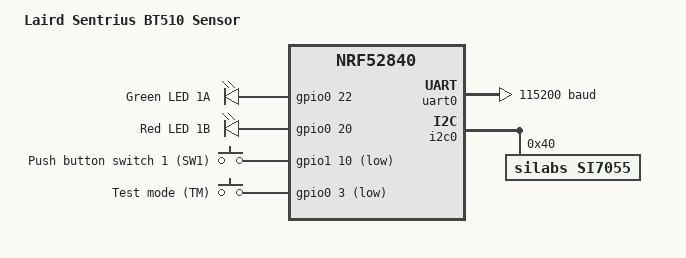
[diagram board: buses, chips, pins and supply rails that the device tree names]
/*
 * Copyright (c) 2020 Laird Connectivity
 * Copyright (c) 2024 Jamie M.
 *
 * SPDX-License-Identifier: Apache-2.0
 */

/dts-v1/;
#include <nordic/nrf52840_qiaa.dtsi>
#include "bt510-pinctrl.dtsi"
#include <zephyr/dt-bindings/input/input-event-codes.h>

/ {
	model = "Laird Sentrius BT510 Sensor";
	compatible = "lairdconnect,bt510";

	chosen {
		zephyr,console = &uart0;
		zephyr,shell-uart = &uart0;
		zephyr,uart-mcumgr = &uart0;
		zephyr,bt-mon-uart = &uart0;
		zephyr,bt-c2h-uart = &uart0;
		zephyr,sram = &sram0;
		zephyr,flash = &flash0;
		zephyr,code-partition = &slot0_partition;
	};

	leds {
		compatible = "gpio-leds";
		led1a: led_1a {
			gpios = <&gpio0 22 GPIO_ACTIVE_HIGH>;
			label = "Green LED 1A";
		};
		led1b: led_1b {
			gpios = <&gpio0 20 GPIO_ACTIVE_HIGH>;
			label = "Red LED 1B";
		};
	};

	buttons {
		compatible = "gpio-keys";
		button0: button_0 {
			gpios = <&gpio1 10 (GPIO_PULL_UP | GPIO_ACTIVE_LOW)>;
			label = "Push button switch 1 (SW1)";
			zephyr,code = <INPUT_KEY_0>;
		};
		tm0: tm_0 {
			gpios = <&gpio0 3 (GPIO_PULL_UP | GPIO_ACTIVE_LOW)>;
			label = "Test mode (TM)";
			zephyr,code = <INPUT_KEY_1>;
		};
	};

	/* These aliases are provided for compatibility with samples */
	aliases {
		led0 = &led1a;
		led1 = &led1b;
		sw0 = &button0;
		mcuboot-button0 = &button0;
		mcuboot-led0 = &led1a;
		watchdog0 = &wdt0;
	};
};

&adc {
	status = "disabled";
};

&uicr {
	gpio-as-nreset;
};

&gpiote {
	status = "okay";
};

&gpio0 {
	status = "okay";
};

&gpio1 {
	status = "okay";
};

&uart0 {
	compatible = "nordic,nrf-uarte";
	current-speed = <115200>;
	status = "okay";
	pinctrl-0 = <&uart0_default>;
	pinctrl-1 = <&uart0_sleep>;
	pinctrl-names = "default", "sleep";
};

&i2c0 {
	compatible = "nordic,nrf-twim";
	status = "okay";

	pinctrl-0 = <&i2c0_default>;
	pinctrl-1 = <&i2c0_sleep>;
	pinctrl-names = "default", "sleep";

	si7055@40 {
		compatible = "silabs,si7055";
		reg = <0x40>;
	};
};

&ieee802154 {
	status = "disabled";
};

&flash0 {
	partitions {
		compatible = "fixed-partitions";
		#address-cells = <1>;
		#size-cells = <1>;

		/* 32KiB */
		boot_partition: partition@0 {
			label = "mcuboot";
			reg = <0x00000000 0x00008000>;
		};
		/* 484KiB */
		slot0_partition: partition@8000 {
			label = "image-0";
			reg = <0x00008000 0x00079000>;
		};
		/* 472KiB */
		slot1_partition: partition@81000 {
			label = "image-1";
			reg = <0x00081000 0x00076000>;
		};

		/*
		 * The flash starting at 0x000e0000 and ending at
		 * 0x000fffff is reserved for use by the application.
		 */

		/*
		 * Storage partition will be used by FCB/LittleFS/NVS
		 * if enabled.
		 */
		/* 36KiB */
		storage_partition: partition@f7000 {
			label = "storage";
			reg = <0x000f7000 0x00009000>;
		};
	};
};
